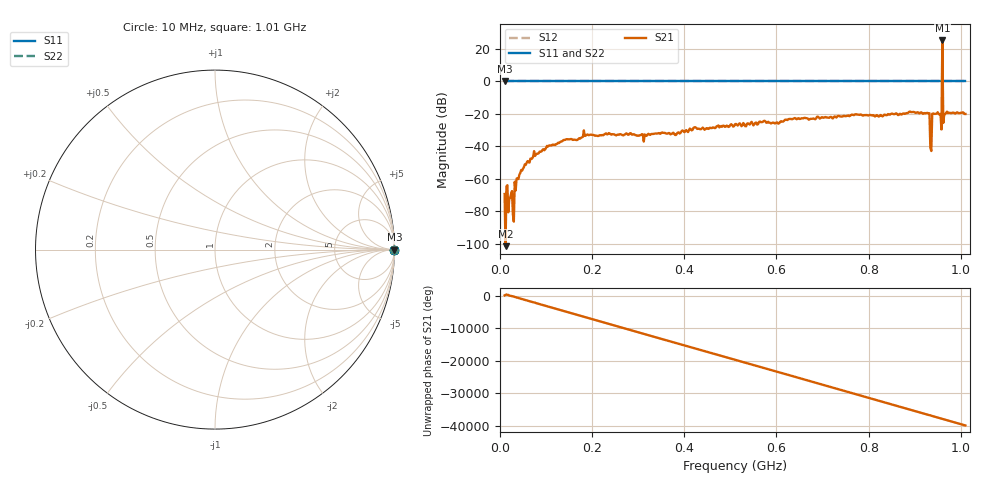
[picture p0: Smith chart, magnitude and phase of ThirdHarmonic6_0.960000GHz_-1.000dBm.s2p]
! 8/16/2025 7:06:30 AM
! C:\ANRITSUVNA\TEMP\TEMP.S2P
! CHANNEL.1
! TR.MEASUREMENT
! RAW.DATA
! RF.CORRECTION.OFF
! AVERAGING.OFF
! IF.BANDWIDTH: 5KHZ
! SWEEPTYPE:  FREQ.SWEEP(Linear)
! Reference Plane Port Info
! PORT:  PORT1  PORT2
! DISTANCE:  0  m  0  m
! TIME:  0  s  0  s
! PHASE.OFFSET:  0  deg.  0  deg.
! LOSS:  0  dB  0  dB
! REF.LOSS:  0  dB  0  dB
! REF.FREQ:  0  Hz  0  Hz
! Power Info
! POWER:  -20  dBm  -20  dBm
! EFF.POWER:  -20  dBm  -20  dBm
! SOURCE.ATTEN:  0  dB  0  dB
! TEST.ATTEN:  0  dB  0  dB
# GHZ S RI R 50.0
! FREQ.GHZ  S11RE  S11IM  S21RE  S21IM  S12RE  S12IM  S22RE  S22IM
!; PortSelection: Port_12
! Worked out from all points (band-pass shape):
!   501 points, 10 MHz to 1.01 GHz, reference 50 ohm
!   highest |S21| = 24.98 dB at 960 MHz (marker M1); lowest = -101.5 dB at 12 MHz (marker M2)
!   |S21| within 3 dB of the highest: 959.8904 MHz to 960.1183 MHz (227.8 kHz wide, 0.0237 % of centre)
!   lowest |S11| = 0.0 dB at 10 MHz (marker M3)
!   |S11| at or under -10 dB: nowhere
!   |S22| runs from 0.0 to 0.0 dB; largest |S21 - S12| = 17
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0.01  1 0  -0.000197 0.000272  1 0  1 0
0.012  1 0  2.8e-06 -7.9e-06  1 0  1 0
0.026  1 0  -0.000262 -0.000319  1 0  1 0
0.032  1 0  0.000773 0.000199  1 0  1 0
0.04  1 0  0.000793 0.000561  1 0  1 0
0.076  1 0  0.00175 0.00467  1 0  1 0
0.178  1 0  -0.0187 -0.000362  1 0  1 0
0.344  1 0  0.0224 -0.0114  1 0  1 0
0.51  1 0  -0.0423 0.0207  1 0  1 0
0.678  1 0  -0.0533 -0.0445  1 0  1 0
0.844  1 0  0.0948 0.000937  1 0  1 0
0.928  1 0  -0.0963 -0.0424  1 0  1 0
0.932  1 0  0.0732 0.0714  1 0  1 0
0.934  1 0  0.0087 0.00142  1 0  1 0
0.938  1 0  -0.0929 0.0341  1 0  1 0
0.942  1 0  0.0989 -0.00326  1 0  1 0
0.954  1 0  -0.0517 -0.0778  1 0  1 0
0.956  1 0  -0.0918 0.032  1 0  1 0
0.96  1 0  13.91 -11.01  1 0  1 0
0.964  1 0  -0.0916 -0.0188  1 0  1 0
0.966  1 0  -0.0427 0.0866  1 0  1 0
1.01  1 0  -0.0702 0.0674  1 0  1 0
